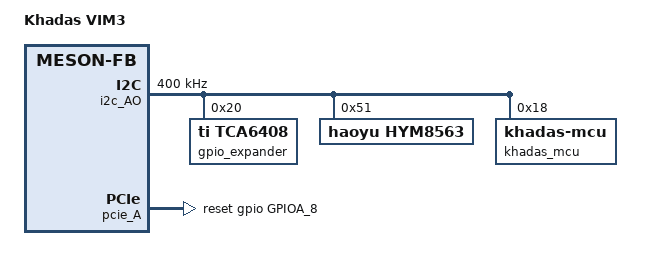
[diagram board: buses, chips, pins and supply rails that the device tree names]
#include "g12b_a311d_w400_linux.dts"
#include "coreelec_g12b_common.dtsi"
#include "coreelec_meson_fb_4g.dtsi"

/ {
	model = "Khadas VIM3";
	coreelec-dt-id = "g12b_a311d_khadas_vim3";

	/delete-node/ memory@00000000;

	reserved-memory {
		secmon_reserved:linux,secmon {
			size = <0x0 0x300000>;
			alloc-ranges = <0x0 0x05000000 0x0 0x300000>;
		};
	};

	/delete-node/ unifykey;
	/delete-node/ rtc;

	gpio_keypad {
		key-gpios = <&gpio_ao GPIOAO_7 GPIO_ACTIVE_HIGH>;
	};

	gpioleds {
		sys_led {
			gpios=<&gpio_ao GPIOAO_4 GPIO_ACTIVE_HIGH>;
		};

		red_led {
			label = "red_led";
			gpios = <&gpio_expander 5 GPIO_ACTIVE_HIGH>;
			linux,default-trigger="none";
		};
	};

	adc_keypad {
		key_name = "home";
		key_num = <1>;
		key_code = <102>;
		key_val = <108>; //val=voltage/1800mV*1023
		key_tolerance = <40>;
	};

	efusekey: efusekey {
		keynum = <1>;
		key0 = <&key_0>;

		key_0:key_0{
			keyname = "mac";
			offset = <0>;
			size = <6>;
		};
	};

	amlvecm {
		interrupts = <0 56 1>;
		interrupt-names = "vsync2";
	};

	auge_sound {
		/delete-property/ avout_mute-gpios;
	};
};

&audiobus {
	aml_spdif: spdif {
		pinctrl-names = "spdif_pins", "spdif_pins_mute";
		pinctrl-0 = <&spdifout>;
		pinctrl-1 = <&spdifout_a_mute>;
	};
};

&pinctrl_periphs {
	/delete-node/ spdifout;
	/delete-node/ spdifout_a_mute;
};

&i2c2 {
	status = "disabled";
};

&vddio_c {
	/delete-property/ gpio;
};

&i2c_AO {
	status = "okay";
	pinctrl-names="default";
	pinctrl-0=<&ao_i2c_master_pins1>;
	clock-frequency = <400000>;

	gpio_expander: gpio-controller@20 {
		compatible = "ti,tca6408";
		reg = <0x20>;
		gpio-controller;
		#gpio-cells = <2>;
		status = "okay";
	};

	hym8563: hym8563@51 {
		compatible = "haoyu,hym8563";
		reg = <0x51>;
		#clock-cells = <0>;
	};

	khadas_mcu: system-controller@18 {
		compatible = "khadas-mcu";
		reg = <0x18>;
		#cooling-cells = <2>;
		fan,trig_temp_level0 = <50>;
		fan,trig_temp_level1 = <60>;
		fan,trig_temp_level2 = <70>;
		hwver = "VIM3.V11";
	};
};

&usb2_phy_v2 {
	gpio-vbus-power = "GPIOA_6";
	gpios = <&gpio GPIOA_6 GPIO_ACTIVE_HIGH>;
};

&usb3_phy_v2 {
	/delete-property/ gpio-vbus-power;
	/delete-property/ gpios;
};

&pcie_A {
	reset-gpio = <&gpio GPIOA_8 GPIO_ACTIVE_HIGH>;
};

&spicc1 {
	spidev@0 {
		status = "disabled";
		compatible = "linux,spidev";
		/* spi default max clock 100Mhz */
		spi-max-frequency = <100000000>;
		reg = <0>;
	};
};
